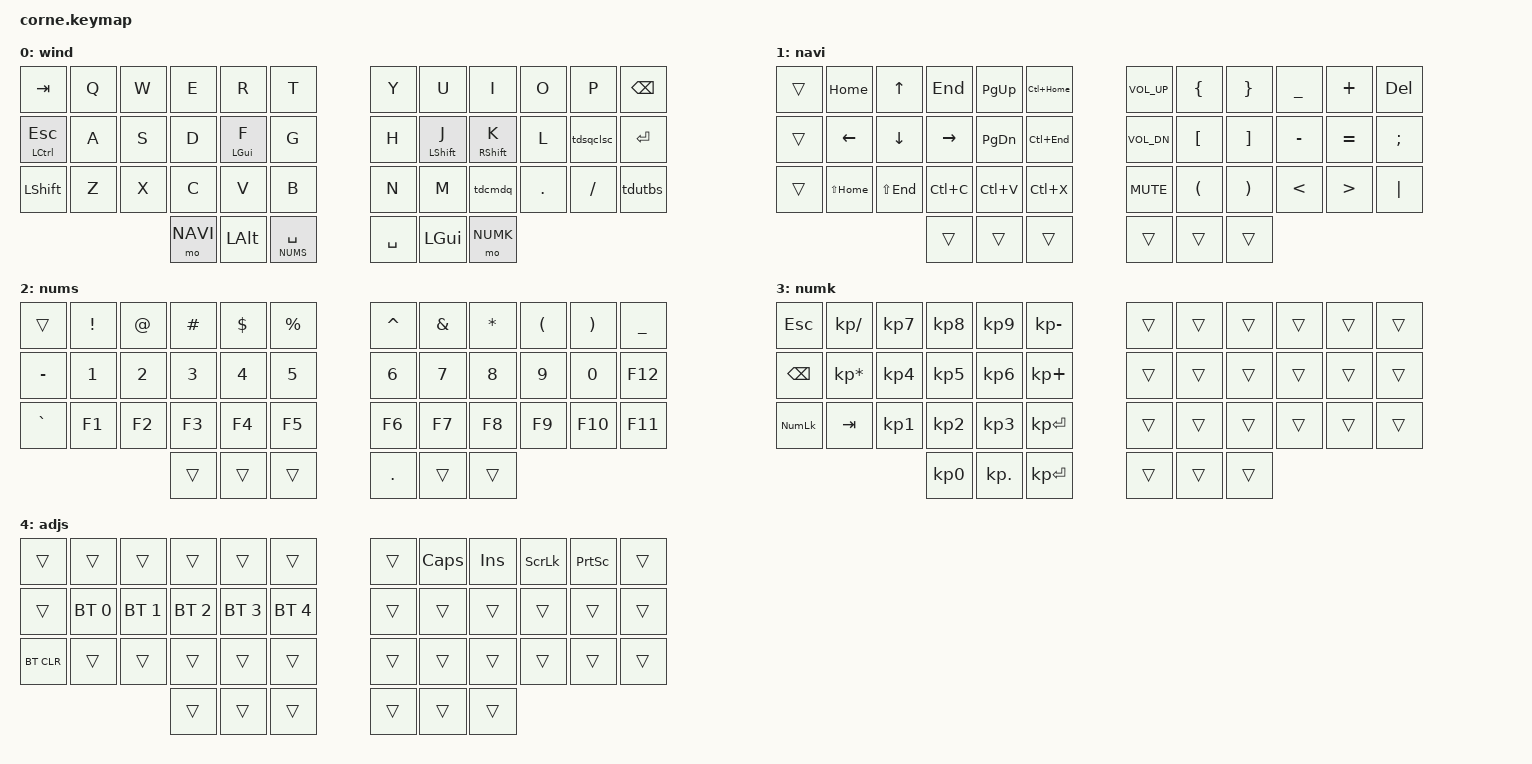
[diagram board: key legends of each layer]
/*
 * Copyright (c) 2020 The ZMK Contributors
 *
 * SPDX-License-Identifier: MIT
 */

#include <behaviors.dtsi>
#include <dt-bindings/zmk/keys.h>
#include <dt-bindings/zmk/bt.h>

// Custom layer definitions
#define WIND 0
#define NAVI 1
#define NUMS 2
#define NUMK 3
#define ADJS 4

/ {

// Tap Dance
        behaviors {
            // HOME ROW MODS BELOW
            bhm: balanced_homerow_mods {
                compatible = "zmk,behavior-hold-tap";
                #binding-cells = <2>;
                tapping-term-ms = <200>;
                quick-tap-ms = <0>;
                flavor = "balanced";
                bindings = <&kp>, <&kp>;
            };
            // single quote, colon, semicolon
            tdsqclsc: tap_dance_sqclsc {
                compatible = "zmk,behavior-tap-dance";
                label = "TAP_DANCE_0";
                #binding-cells = <0>;
                tapping-term-ms = <200>;
                bindings = <&kp SQT>, <&kp COLON>, <&kp SEMI>;
            };
            // comma, double quote
            tdcmdq: tap_dance_cmdq {
                compatible = "zmk,behavior-tap-dance";
                label = "TAP_DANCE_1";
                #binding-cells = <0>;
                tapping-term-ms = <200>;
                bindings = <&kp COMMA>, <&kp DQT>;
            };
            // period, dash
            tddtds: tap_dance_dtds {
                compatible = "zmk,behavior-tap-dance";
                label = "TAP_DANCE_2";
                #binding-cells = <0>;
                tapping-term-ms = <200>;
                bindings = <&kp DOT>, <&kp MINUS>;
            };
            // forward slash, backslash
            tdfsbs: tap_dance_fsbs {
                compatible = "zmk,behavior-tap-dance";
                label = "TAP_DANCE_3";
                #binding-cells = <0>;
                tapping-term-ms = <200>;
                bindings = <&kp FSLH>, <&kp BSLH>;
            };
            // tilde, underscore, backslash
            tdutbs: tap_dance_utbs {
                compatible = "zmk,behavior-tap-dance";
                label = "TAP_DANCE_4";
                #binding-cells = <0>;
                tapping-term-ms = <200>;
                bindings = <&kp UNDER>, <&kp TILDE>, <&kp BSLH>;
            };
        };

        combos {
            compatible = "zmk,combos";
            
            // OP+BACKSPACE = CTRL+BKSP
            opbksp_ctrlbksp {
                timeout-ms = <50>;
                key-positions = <9 10 11>;
                bindings = <&kp LC(BSPC)>;
            };
            // P+BACKSPACE = DEL
            pbksp_del {
                timeout-ms = <50>;
                key-positions = <10 11>;
                bindings = <&kp DEL>;
            };

            // QW = CTRL+W
            qw_ctrlw {
                timeout-ms = <50>;
                key-positions = <1 2>;
                bindings = <&kp LC(W)>;
            };
            // QE = ALT+F4
            qe_altf4 {
                timeout-ms = <50>;
                key-positions = <1 3>;
                bindings = <&kp LA(F4)>;
            };


            // DF = CTRL+TAB
            df_ctrltab {
                timeout-ms = <50>;
                key-positions = <15 16>;
                bindings = <&kp LC(TAB)>;
            };
            // DG = CTRL+SHIFT+TAB
            dg_ctrlshifttab {
                timeout-ms = <50>;
                key-positions = <15 17>;
                bindings = <&kp LC(LS(TAB))>;
            };

            // ZC = CTRL+DOT
            zc_ctrldot {
                timeout-ms = <50>;
                key-positions = <25 27>;
                bindings = <&kp LC(DOT)>;
            };

            // SHIFT+ZX = CAPS WORD
            shftzx_capsword {
                timeout-ms = <50>;
                key-positions = <24 25 26>;
                bindings = <&caps_word>;
            };

            // ZX = LEFTARROW
            zx_left {
                timeout-ms = <50>;
                key-positions = <25 26>;
                bindings = <&kp LEFT>;
            };
            // CV = RIGHTARROW
            cv_right {
                timeout-ms = <50>;
                key-positions = <27 28>;
                bindings = <&kp RIGHT>;
            };

            // SDF = UPARROW
            sdf_up {
                timeout-ms = <50>;
                key-positions = <14 15 16>;
                bindings = <&kp UP>;
            };
            // XCV = DOWNARROW
            xcv_down {
                timeout-ms = <50>;
                key-positions = <26 27 28>;
                bindings = <&kp DOWN>;
            };


            // WR = PGUP
            wr_pgup {
                timeout-ms = <50>;
                key-positions = <2 4>;
                bindings = <&kp PG_UP>;
            };
            // SF = PGDN
            sf_pgdn  {
                timeout-ms = <50>;
                key-positions = <14 16>;
                bindings = <&kp PG_DN>;
            };

            // ERT = HOME
            ert_home {
                timeout-ms = <50>;
                key-positions = <3 4 5>;
                bindings = <&kp HOME>;
            };
            // DFG = END
            dfg_end {
                timeout-ms = <50>;
                key-positions = <15 16 17>;
                bindings = <&kp END>;
            };
            // CB = BSPC
            cb_bspc {
                timeout-ms = <50>;
                key-positions = <27 29>;
                bindings = <&kp BSPC>;
            };
            // VB = ENTER
            vb_entr {
                timeout-ms = <50>;
                key-positions = <28 29>;
                bindings = <&kp RET>;
            };

            // IOP  = PLUS
            iop_plus {
                timeout-ms = <50>;
                key-positions = <8 9 10>;
                bindings = <&kp PLUS>;
            };
            // KL' = MINUS
            klsq_minus {
                timeout-ms = <50>;
                key-positions = <20 21 22>;
                bindings = <&kp MINUS>;
            };
            // ,./ = EQUALS
            cmdtfs_equal {
                timeout-ms = <50>;
                key-positions = <32 33 34>;
                bindings = <&kp EQUAL>;
            };


            // YU = {
            yu_lcb {
                timeout-ms = <50>;
                key-positions = <6 7>;
                bindings = <&kp LBRC>;
            };
            // IO = }
            io_rcb {
                timeout-ms = <50>;
                key-positions = <8 9>;
                bindings = <&kp RBRC>;
            };

            
            // HJ = [
            hj_lsb {
                timeout-ms = <50>;
                key-positions = <18 19>;
                bindings = <&kp LBKT>;
            };
            // KL = ]
            kl_rsb {
                timeout-ms = <50>;
                key-positions = <20 21>;
                bindings = <&kp RBKT>;
            };

            // NM = (
            nm_lpar {
                timeout-ms = <50>;
                key-positions = <30 31>;
                bindings = <&kp LPAR>;
            };
            // ,. = )
            ,._rpar {
                timeout-ms = <50>;
                key-positions = <32 33>;
                bindings = <&kp RPAR>;
            };            
        };

        conditional_layers {
            compatible = "zmk,conditional-layers";

            // if activating NAVI and NUMS layers together, activate ADJS layer instead
            tri_layer {
                if-layers = <1 3>;
                then-layer = <4>;
            };
        };

        keymap {
                compatible = "zmk,keymap";

                wind {
// -----------------------------------------------------------------------------------------
// |  TAB     |  Q  |  W  |   E  |   R  |  T  |   |  Y  |  U   |  I  |  O  |  P  | BKSP |
// | CTRL/ESC |  A  |  S  |   D  |   F  |  G  |   |  H  |  J   |  K  |  L  | ':; | ENTR |
// | SHFT     |  Z  |  X  |   C  |   V  |  B  |   |  N  |  M   | , " |  .  |  /  | ~_\  |
//                    | NAVI | LALT | NMS/SPC |   | SPC | GUI  | NUMK |
                        bindings = <
   &kp TAB       &kp Q &kp W &kp E &kp R &kp T   &kp Y &kp U &kp I   &kp O   &kp P     &kp BSPC
   &mt LCTRL ESC   &kp A &kp S &kp D &bhm LGUI F &kp G   &kp H &bhm LSHIFT J &bhm RSHIFT K &kp L &tdsqclsc &kp RET
   &kp LSHIFT      &kp Z &kp X &kp C &kp V &kp B   &kp N &kp M &tdcmdq &kp DOT &kp FSLH  &tdutbs
   //&kp TAB       &kp Q &kp W &kp E &kp R &kp T   &kp Y &kp U &kp I   &kp O   &kp P     &kp BSPC
   //&mt LCTRL ESC &bhm LCTRL A &bhm LALT S &bhm LGUI D &bhm LSHIFT F &kp G   &kp H &bhm LSHIFT J &bhm LALT K &bhm LCTRL L &tdsqclsc &kp RET
   //&tdcaps       &kp Z &kp X &kp C &kp V &kp B   &kp N &kp M &tdcmdq &kp DOT &kp FSLH  &tdutbs
              &mo NAVI &kp LALT &lt NUMS SPACE   &kp SPACE &kp LGUI &mo NUMK
                        >;
                };
                navi {
// -----------------------------------------------------------------------------------------
// |     | HOME |  UP  |  END  | PGUP |CHOM |   | VOLU | { | } | _ | + | DEL |
// |     | LEFT | DOWN | RIGHT | PGDN |CEND |   | VOLD | [ | ] | - | = |  ;  |
// |     | SHOM | SEND | COPY  | PAST | CUT |   | MUTE | ( | ) | < | > |  |  |
//                     |       |      |     |   |      |   |   |
                        bindings = <
   &trans  &kp HOME     &kp UP      &kp END   &kp PG_UP &kp LC(HOME)   &kp C_VOL_UP &kp LBRC  &kp RBRC &kp UNDER &kp PLUS  &kp DEL
   &trans  &kp LEFT     &kp DOWN    &kp RIGHT &kp PG_DN &kp LC(END)    &kp C_VOL_DN &kp LBKT  &kp RBKT &kp MINUS &kp EQUAL &kp SEMI
   &trans  &kp LS(HOME) &kp LS(END) &kp LC(C) &kp LC(V) &kp LC(X)      &kp C_MUTE   &kp LPAR  &kp RPAR &kp LT    &kp GT    &kp PIPE
                                          &trans &trans &trans         &trans &trans &trans
                        >;
                };
                nums {
// -----------------------------------------------------------------------------------------
// |   |  !  |  @  |  #  |  $  |  %  |   |  ^  |  &  |  *  |  (  |  )  |  _  |
// | - |  1  |  2  |  3  |  4  |  5  |   |  6  |  7  |  8  |  9  |  0  | F12 |
// | ` |  F1 |  F2 |  F3 |  F4 |  F5 |   |  F6 |  F7 |  F8 |  F9 | F10 | F11 |
//                 |     |     |     |   |  .  |     |     |
                        bindings = <
   &trans    &kp EXCL &kp AT &kp HASH &kp DLLR &kp PRCNT   &kp CARET &kp AMPS &kp STAR &kp LPAR &kp RPAR &kp UNDER
   &kp MINUS &kp N1   &kp N2 &kp N3   &kp N4   &kp N5      &kp N6    &kp N7   &kp N8   &kp N9   &kp N0   &kp F12
   &kp GRAVE &kp F1   &kp F2 &kp F3   &kp F4   &kp F5      &kp F6    &kp F7   &kp F8   &kp F9   &kp F10  &kp F11
                                 &trans &trans &trans      &kp DOT &trans &trans
                        >;
                };
                numk {
// -----------------------------------------------------------------------------------------
// |  ESC |  /  |  7  |  8  |  9  |  -  |   |     |     |     |     |     |      |
// | BKSP |  *  |  4  |  5  |  6  |  +  |   |     |     |     |     |     |      |
// | NMLK | TAB |  1  |  2  |  3  | ENT |   |     |     |     |     |     |      |
//                    |  0  |  .  | ENT |   |     |     |     |
                        bindings = <
   &kp ESC    &kp KP_SLASH    &kp KP_N7 &kp KP_N8 &kp KP_N9 &kp KP_MINUS      &trans &trans &trans &trans &trans &trans
   &kp BSPC   &kp KP_ASTERISK &kp KP_N4 &kp KP_N5 &kp KP_N6 &kp KP_PLUS       &trans &trans &trans &trans &trans &trans
   &kp KP_NUM &kp TAB         &kp KP_N1 &kp KP_N2 &kp KP_N3 &kp KP_ENTER      &trans &trans &trans &trans &trans &trans
                                       &kp KP_N0 &kp KP_DOT &kp KP_ENTER      &trans &trans &trans
                        >;
                };
                adjs {
// -----------------------------------------------------------------------------------------
// |       |     |     |     |     |     |    |    | CAPS | INS | SLCK | PSCRN |    |
// |       | BT1 | BT2 | BT3 | BT4 | BT5 |    |    |      |     |      |       |    |
// | BTCLR |     |     |     |     |     |    |    |      |     |      |       |    |
//                           |     |     |    |    |      |     |
                        bindings = <
   &trans      &trans       &trans       &trans       &trans       &trans         &trans &kp CAPS &kp INS &kp SLCK &kp PSCRN &trans
   &trans      &bt BT_SEL 0 &bt BT_SEL 1 &bt BT_SEL 2 &bt BT_SEL 3 &bt BT_SEL 4   &trans &trans   &trans  &trans   &trans    &trans
   &bt BT_CLR  &trans       &trans       &trans       &trans       &trans         &trans &trans   &trans  &trans   &trans    &trans
                                                     &trans &trans &trans         &trans &trans &trans
                        >;
                };
        };
};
